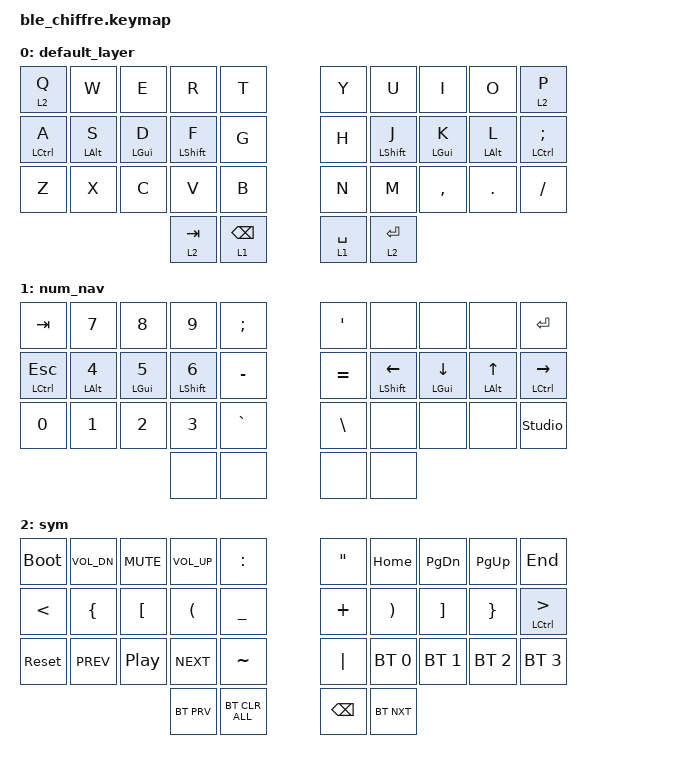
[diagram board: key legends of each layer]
/*
 * Copyright (c) 2020 The ZMK Contributors
 *
 * SPDX-License-Identifier: MIT
 */

#include <behaviors.dtsi>
#include <dt-bindings/zmk/keys.h>
#include <dt-bindings/zmk/bt.h>

#define DEFAULT 0
#define NUM_SYM 1
#define NAV     2

/ {
    behaviors {
        hm: homerow_mods {
            compatible = "zmk,behavior-hold-tap";
            label = "homerow mods";
            #binding-cells = <2>;
            tapping-term-ms = <225>;
            flavor = "tap-preferred";
            bindings = <&kp>, <&kp>;
        };
        bh: layer_taps {
			compatible = "zmk,behavior-hold-tap";
			label = "Layer-Tap";
			#binding-cells = <2>;
			tapping_term_ms = <200>;
            flavor = "tap-preferred";
			bindings = <&mo>, <&kp>;
        };
    };
};

/ {
    keymap {
    	compatible = "zmk,keymap";
    	default_layer {
            bindings = <
    &bh 2 Q     &kp W      &kp E      &kp R       &kp T      &kp Y       &kp U       &kp I      &kp O      &bh 2 P
    &hm LCTRL A &hm LALT S &hm LGUI D &hm LSHFT F &kp G      &kp H       &hm LSHFT J &hm LGUI K &hm LALT L &hm LCTRL SEMI
    &kp Z       &kp X      &kp C      &kp V       &kp B      &kp N       &kp M       &kp COMMA  &kp DOT    &kp FSLH
                                      &bh 2 TAB   &bh 1 BSPC &bh 1 SPACE &bh 2 RET
            >;
        };
    	num_nav {
            bindings = <
    &kp TAB       &kp N7      &kp N8      &kp N9       &kp SEMI  &kp SQT   &none          &none         &none       &kp RET
    &hm LCTRL ESC &hm LALT N4 &hm LGUI N5 &hm LSHFT N6 &kp MINUS &kp EQUAL &hm LSHFT LEFT &hm LGUI DOWN &hm LALT UP &hm LCTRL RIGHT
    &kp N0        &kp N1      &kp N2      &kp N3       &kp GRAVE &kp BSLH  &none          &none         &none       &studio_unlock
                                                 &none &none     &none &none
            >;
        };
		sym {
            bindings = <
    &bootloader &kp C_VOL_DN &kp K_MUTE &kp C_VOL_UP &kp COLON      &kp DQT  &kp HOME     &kp PG_DN    &kp PG_UP    &kp END
    &kp LT      &kp LBRC     &kp LBKT   &kp LPAR     &kp UNDER      &kp PLUS &kp RPAR     &kp RBKT     &kp RBRC     &hm LCTRL GT
    &sys_reset  &kp C_PREV   &kp C_PP   &kp C_NEXT   &kp TILDE      &kp PIPE &bt BT_SEL 0 &bt BT_SEL 1 &bt BT_SEL 2 &bt BT_SEL 3
                                        &bt BT_PRV   &bt BT_CLR_ALL &kp BSPC &bt BT_NXT
            >;
        };

    };
};
